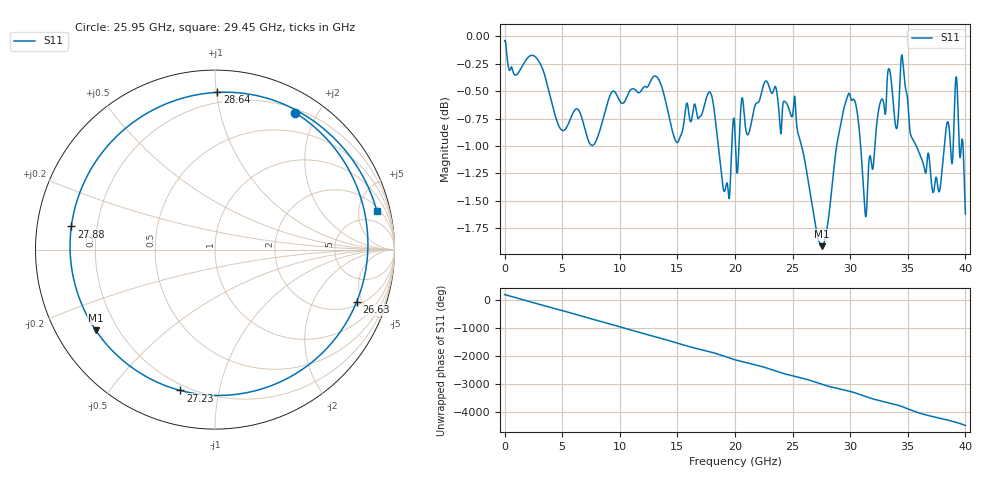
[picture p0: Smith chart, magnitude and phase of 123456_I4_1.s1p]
# MHz MA S R 50.0
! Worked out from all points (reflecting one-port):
!   8000 points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, 5 MHz to 40 GHz, reference 50 ohm
!   lowest |S11| = -1.9 dB at 27.54 GHz (marker M1), VSWR 9.11, Z = 6 - j15.1 ohm
!   phase of S11 starts at 179 deg and turns -4676 deg over the sweep
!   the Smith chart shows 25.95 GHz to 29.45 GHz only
!   S11 on the Smith chart (normalised r, x): 25.95 GHz: 0.25, +1.72; 26.63 GHz: 2.25, -4.49; 27.23 GHz: 0.17, -0.77; 27.88 GHz: 0.11, +0.08; 28.64 GHz: 0.13, +1.01; 29.45 GHz: 2.55, +7.73
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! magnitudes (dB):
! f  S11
! 5 MHz  0.0
! 2.915 GHz  -0.2
! 5.005 GHz  -0.9
! 10.01 GHz  -0.6
! 13.19 GHz  -0.4
! 15.01 GHz  -1.0
! 17.84 GHz  -0.5
! 19.37 GHz  -1.4
! 20 GHz  -0.9
! 22.66 GHz  -0.4
! 25 GHz  -0.7
! 25.95 GHz  -1.1
! 26.63 GHz  -1.5
! 27.23 GHz  -1.8
! 27.54 GHz  -1.9
! 27.88 GHz  -1.8
! 28.64 GHz  -1.1
! 29.45 GHz  -0.7
! 30 GHz  -0.5
! 30.62 GHz  -0.7
! 31.32 GHz  -1.6
! 33.37 GHz  -0.3
! 33.98 GHz  -0.8
! 34.51 GHz  -0.2
! 35.01 GHz  -0.6
! 37.71 GHz  -1.4
! 39.21 GHz  -0.4
! 40 GHz  -1.6
